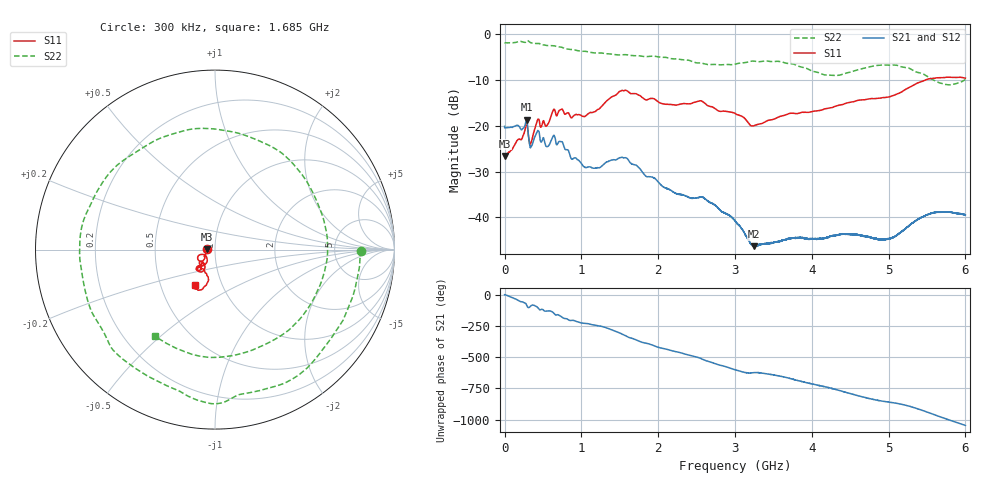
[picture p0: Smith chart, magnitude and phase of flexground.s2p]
!  8/6/2020  02:34:19
! Ref Plane: 0.000 mm
# MHZ S MA R  50
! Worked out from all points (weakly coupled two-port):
!   10001 points, 300 kHz to 6 GHz, reference 50 ohm
!   highest |S21| = -18.64 dB at 285.9 MHz (marker M1); lowest = -46.3 dB at 3.244 GHz (marker M2)
!   lowest |S11| = -26.5 dB at 300 kHz (marker M3), VSWR 1.10, Z = 45.5 + j0.0899 ohm
!   |S11| at or under -10 dB: start of sweep to 5.473 GHz
!   |S22| runs from -11.0 to -1.3 dB; largest |S21 - S12| = 0.0024
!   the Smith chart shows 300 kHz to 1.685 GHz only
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0.3  0.04707 178.8  0.09886 -1.0  0.09654 -0.7  0.8154 -0.4
285.8857  0.1095 -147.5  0.117 -82.9  0.1171 -82.9  0.8427 -85.0
618.8691  0.1384 -119.1  0.07326 -138.0  0.07331 -138.0  0.7542 177.4
817.4591  0.139 -133.1  0.05484 163.1  0.05495 163.1  0.6934 120.0
1000.45  0.1294 -124.3  0.03877 132.4  0.03881 132.5  0.655 69.9
1260.237  0.1627 -103.2  0.03604 105.7  0.036 105.7  0.6269 -3.8
1539.823  0.2437 -113.7  0.04511 40.3  0.0451 40.2  0.5987 -84.5
1779.811  0.2087 -123.8  0.03258 -20.6  0.03255 -20.5  0.5799 -149.8
2000.6  0.1828 -121.5  0.02437 -61.9  0.02438 -62.0  0.5688 152.2
2259.187  0.1705 -109.0  0.01793 -100.9  0.01797 -100.9  0.5388 84.0
2539.973  0.1877 -106.0  0.01661 -147.9  0.01662 -147.9  0.4885 5.3
2781.761  0.1463 -105.7  0.01261 158.5  0.01262 158.7  0.4674 -67.5
3000.15  0.137 -97.3  0.00914 117.7  0.009131 118.1  0.4723 -132.6
3243.738  0.1001 -81.1  0.004846 95.2  0.004885 95.3  0.5108 162.9
3580.921  0.1265 -53.0  0.005496 67.9  0.005446 67.6  0.506 81.6
4000.3  0.1432 -37.3  0.005802 5.3  0.005873 5.8  0.3991 -27.5
4231.888  0.1571 -25.9  0.006119 -25.8  0.006135 -26.5  0.3587 -101.9
4489.876  0.181 -18.3  0.006505 -70.6  0.006512 -70.3  0.3844 176.3
4763.462  0.1986 -13.4  0.00605 -114.0  0.006041 -113.8  0.4444 104.2
5000.45  0.207 -4.7  0.005863 -140.2  0.005852 -140.0  0.4616 49.4
5509.824  0.3244 1.6  0.01077 138.4  0.01077 138.4  0.3453 -74.0
6000  0.3326 -8.1  0.01065 32.9  0.01064 33.1  0.3205 121.2
